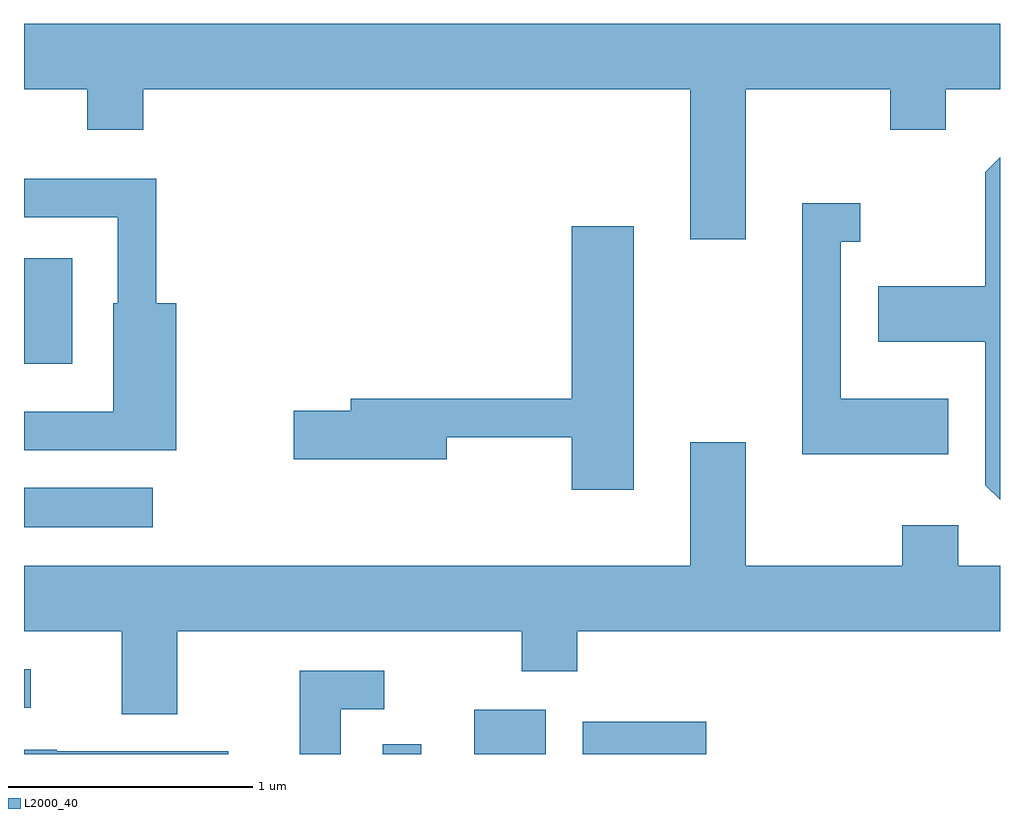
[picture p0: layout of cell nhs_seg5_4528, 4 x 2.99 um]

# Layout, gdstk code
import gdstk
lib = gdstk.Library(unit=1e-6, precision=1e-09)
def R(c, l, rs):  # rectangles x0, y0, x1, y1
    for r in rs: c.add(gdstk.rectangle(r[:2], r[2:], *l))
def P(c, l, *ps):  # polygons
    for p in ps: c.add(gdstk.Polygon(p, *l))
L2000_40 = (2000, 40)

nhs_seg5_4528 = lib.new_cell('nhs_seg5_4528')
R(nhs_seg5_4528, L2000_40, [(321.081,1454.072,321.239,1454.113), (321.456,1454.072,321.749,1454.254), (321.901,1454.072,322.408,1454.204), (319.611,1454.261,319.638,1454.419), (319.611,1455.001,320.138,1455.164), (319.611,1455.671,319.809,1456.104)])
P(nhs_seg5_4528, L2000_40, [(322.569,1456.796),(323.161,1456.796),(323.161,1456.631),(323.389,1456.631),(323.389,1456.796),(323.611,1456.796),(323.611,1457.064),(319.611,1457.064),(319.611,1456.796),(319.871,1456.796),(319.871,1456.631),(320.099,1456.631),(320.099,1456.796),(322.341,1456.796),(322.341,1456.181),(322.569,1456.181)],
  [(323.611,1456.517),(323.551,1456.457),(323.551,1455.989),(323.111,1455.989),(323.111,1455.761),(323.551,1455.761),(323.551,1455.174),(323.611,1455.114)],
  [(320.234,1455.919),(320.154,1455.919),(320.154,1456.429),(319.611,1456.429),(319.611,1456.271),(319.996,1456.271),(319.996,1455.919),(319.976,1455.919),(319.976,1455.474),(319.611,1455.474),(319.611,1455.316),(320.234,1455.316)],
  [(323.399,1455.529),(322.959,1455.529),(322.959,1456.171),(323.038,1456.171),(323.038,1456.329),(322.801,1456.329),(322.801,1455.301),(323.399,1455.301)],
  [(322.109,1456.234),(321.856,1456.234),(321.856,1455.529),(320.951,1455.529),(320.951,1455.479),(320.716,1455.479),(320.716,1455.281),(321.344,1455.281),(321.344,1455.371),(321.856,1455.371),(321.856,1455.156),(322.109,1455.156)],
  [(320.239,1454.576),(321.651,1454.576),(321.651,1454.411),(321.879,1454.411),(321.879,1454.576),(323.611,1454.576),(323.611,1454.844),(323.439,1454.844),(323.439,1455.009),(323.211,1455.009),(323.211,1454.844),(322.569,1454.844),(322.569,1455.349),(322.341,1455.349),(322.341,1454.844),(319.611,1454.844),(319.611,1454.576),(320.011,1454.576),(320.011,1454.236),(320.239,1454.236)],
  [(320.909,1454.256),(321.088,1454.256),(321.088,1454.414),(320.741,1454.414),(320.741,1454.072),(320.909,1454.072)],
  [(320.449,1454.084),(319.745,1454.084),(319.745,1454.089),(319.611,1454.089),(319.611,1454.072),(320.449,1454.072)])

lib.write_gds('nhs_seg5_4528.gds')
